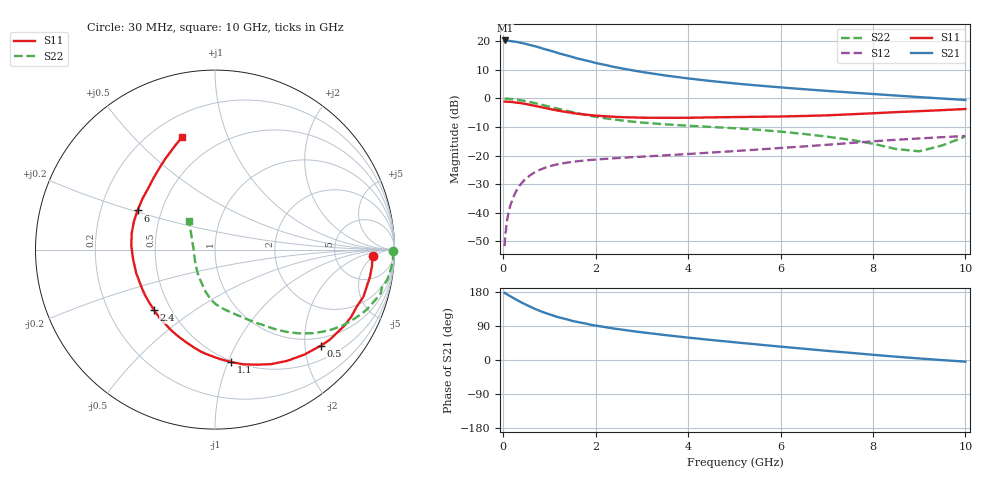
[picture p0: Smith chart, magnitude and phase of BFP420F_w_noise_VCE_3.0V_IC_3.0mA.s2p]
! Infineon Technologies  Discrete & RF Semiconductors
! BFP420F
! VCE =  3.0 V,  IC =  3.0 mA
! Common Emitter S-Parameters:  Sep 2011
# GHz  S  MA  R  50
!  f  S11  S21  S12  S22
! GHz  MAG  ANG  MAG  ANG  MAG  ANG  MAG  ANG
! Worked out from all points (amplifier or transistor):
!   54 points, 30 MHz to 10 GHz, reference 50 ohm
!   highest |S21| = 20.3 dB at 40 MHz (marker M1)
!   |S21| within 3 dB of that: start of sweep to 891.9 MHz
!   unconditionally stable (mu >= 1): 2.428 GHz to end of sweep
!   at 120 MHz: K = 0.07, MSG = 29.9 dB, |S12| = -39.6 dB
!   at 1.3 GHz: K = 0.52, MSG = 19.0 dB, |S12| = -22.7 dB
!   at 10 GHz: K = 1.52, MAG = 2.0 dB, |S12| = -13.1 dB
!   lowest NFmin = 0.85 dB at 450 MHz
!   S11 on the Smith chart (normalised r, x): 30 MHz: 15, -5; 500 MHz: 0.81, -2.36; 1.1 GHz: 0.49, -1.03; 2.4 GHz: 0.40, -0.35; 6 GHz: 0.37, +0.21; 10 GHz: 0.32, +0.70
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0.03  0.8831 -2.3  10.36 177.2  0.0026 83.9  0.9902 -0.6
0.04  0.8825 -3.0  10.36 176.4  0.0035 86.6  0.9929 -0.9
0.13  0.8741 -11.7  10.16 169.7  0.0114 83.0  0.9848 -6.6
0.3  0.8462 -26.3  9.738 158.1  0.0256 75.6  0.9548 -14.8
0.4  0.8223 -34.4  9.367 151.5  0.0331 71.1  0.9236 -19.3
0.5  0.797 -42.1  8.965 145.6  0.0402 67.0  0.8931 -23.5
0.6  0.7678 -49.7  8.539 139.6  0.0463 63.0  0.8583 -27.4
0.8  0.711 -63.8  7.73 129.2  0.0568 56.4  0.7884 -34.4
1.1  0.6332 -81.8  6.574 116.5  0.0682 48.6  0.6866 -42.8
1.2  0.6106 -87.4  6.193 112.7  0.071 46.7  0.6569 -45.2
1.5  0.557 -102.3  5.314 103.0  0.0778 42.0  0.5768 -51.2
1.7  0.5304 -110.8  4.806 98.1  0.0811 39.7  0.532 -54.7
1.9  0.5102 -119.0  4.405 92.8  0.0842 38.0  0.4951 -57.8
2.4  0.4782 -135.4  3.561 82.9  0.0899 35.0  0.4287 -65.1
3.5  0.4581 -163.2  2.531 65.9  0.101 33.4  0.353 -77.4
4.5  0.4668 177.3  2.018 52.8  0.1131 33.5  0.3172 -86.0
5.5  0.4782 161.1  1.689 41.0  0.1276 33.3  0.2837 -93.6
6  0.4835 153.2  1.564 35.3  0.136 33.0  0.2629 -97.7
7  0.5063 136.9  1.359 24.2  0.1545 31.7  0.2149 -108.0
8.5  0.5766 118.7  1.125 8.7  0.1892 26.8  0.1305 -147.8
9  0.6001 114.2  1.058 4.1  0.1998 24.5  0.1189 -179.1
10  0.6545 106.1  0.941 -4.4  0.2205 19.8  0.2152 132.2
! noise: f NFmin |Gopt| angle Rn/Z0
0.45  0.85  0.4  15  0.19
0.9  0.9  0.38  35  0.21
1.9  1.14  0.29  89  0.16
2.4  1.25  0.29  101  0.16
3.5  1.61  0.32  139  0.17
